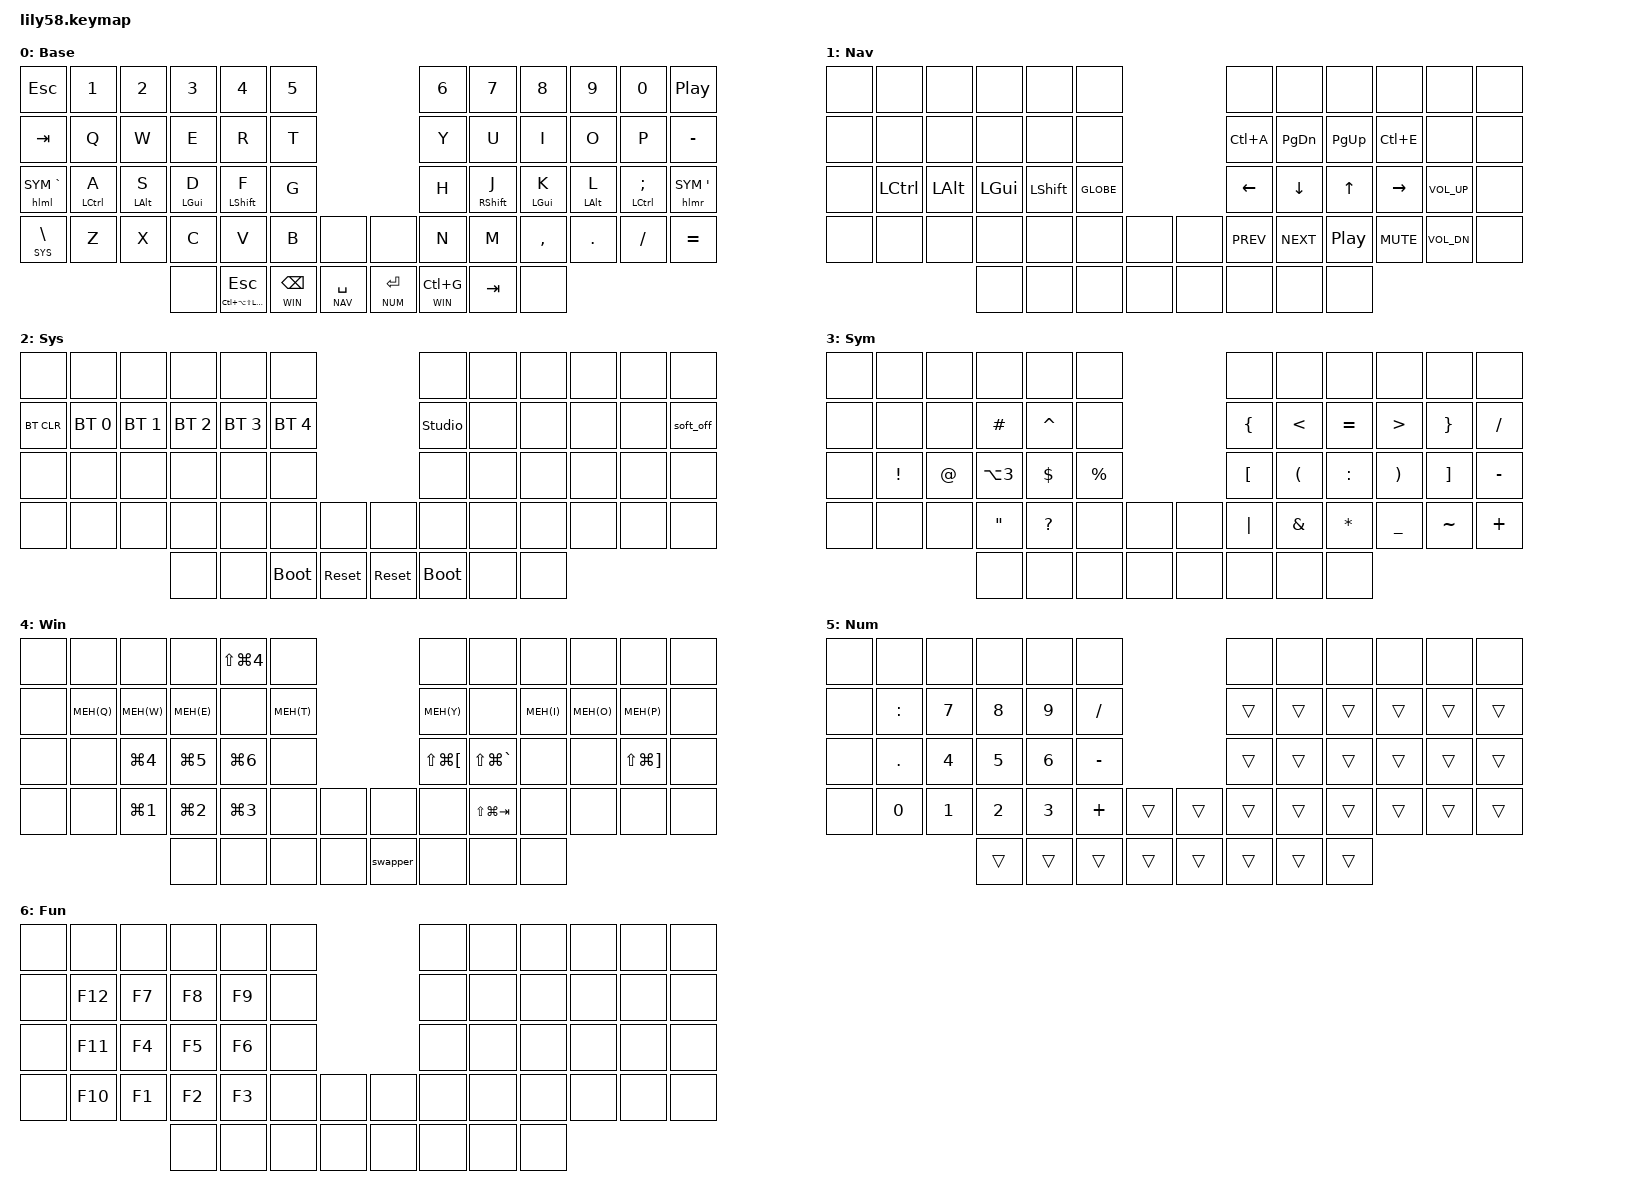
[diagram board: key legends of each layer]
/*
 * Copyright (c) 2020 The ZMK Contributors
 *
 * SPDX-License-Identifier: MIT
 */
#include <behaviors.dtsi>
#define LILY58_STANDARD_LABELS
#include "zmk-helpers/helper.h"
#include "zmk-helpers/key-labels/lily58.h"
#include <behaviors/num_word.dtsi> // Requires zmk-auto-layer module.
#include <dt-bindings/zmk/keys.h>
#include <dt-bindings/zmk/bt.h>
#include <dt-bindings/zmk/ext_power.h>

#define XXX &none
#define ___ &trans

// Key position definitions for devicetree hold-trigger-key-positions
#define LN0  5  // left-number row
#define LN1  4
#define LN2  3
#define LN3  2
#define LN4  1
#define LN5  0

#define RN0  6  // right-number row
#define RN1  7
#define RN2  8
#define RN3  9
#define RN4 10
#define RN5 11

#define LT0 17  // left-top row
#define LT1 16
#define LT2 15
#define LT3 14
#define LT4 13
#define LT5 12

#define RT0 18  // right-top row
#define RT1 19
#define RT2 20
#define RT3 21
#define RT4 22
#define RT5 23

#define LM0 29  // left-middle row
#define LM1 28
#define LM2 27
#define LM3 26
#define LM4 25
#define LM5 24

#define RM0 30  // right-middle row
#define RM1 31
#define RM2 32
#define RM3 33
#define RM4 34
#define RM5 35

#define LB0 41  // left-bottom row
#define LB1 40
#define LB2 39
#define LB3 38
#define LB4 37
#define LB5 36

#define LEC 42  // left encoder key
#define REC 43  // right encoder key

#define RB0 44  // right-bottom row
#define RB1 45
#define RB2 46
#define RB3 47
#define RB4 48
#define RB5 49

#define LH0 53  // left thumb keys
#define LH1 52
#define LH2 51
#define LH3 50

#define RH0 54  // right thumb keys
#define RH1 55
#define RH2 56
#define RH3 57

#define NUMROW LN0 LN1 LN2 LN3 LN4 LN5 RN0 RN1 RN2 RN3 RN4 RN5
#define KEYS_L LT0 LT1 LT2 LT3 LT4 LT5 LM0 LM1 LM2 LM3 LM4 LM5 LB0 LB1 LB2 LB3 LB4 LB5
#define KEYS_R RT0 RT1 RT2 RT3 RT4 RT5 RM0 RM1 RM2 RM3 RM4 RM5 RB0 RB1 RB2 RB3 RB4 RB5
#define THUMBS_L LH0 LH1 LH2 LH3
#define THUMBS_R RH0 RH1 RH2 RH3
#define THUMBS THUMBS_L THUMBS_R

#define DEF 0
#define NAV 1
#define SYS 2
#define SYM 3
#define WIN 4
#define NUM 5
#define FUN 6

/* Global defaults */

#define QUICK_TAP_MS 175

&lt {
  flavor = "balanced";
  tapping-term-ms = <200>;
  quick-tap-ms = <QUICK_TAP_MS>;
};
/* Homerow mods */
#define MAKE_HRM_IDLE(NAME, HOLD, TAP, TRIGGER_POS, IDLE_MS)                   \
  ZMK_HOLD_TAP(NAME, bindings = <HOLD>, <TAP>; flavor = "balanced";            \
               tapping-term-ms = <320>; quick-tap-ms = <QUICK_TAP_MS>;         \
               require-prior-idle-ms = <IDLE_MS>; hold-trigger-on-release;     \
               hold-trigger-key-positions = <TRIGGER_POS>;)
#define MAKE_HRM(NAME, HOLD, TAP, TRIGGER_POS)                                 \
  MAKE_HRM_IDLE(NAME, HOLD, TAP, TRIGGER_POS, 80)

MAKE_HRM(hml, &kp, &kp, KEYS_R THUMBS) // Left-hand HRMs.
MAKE_HRM(hmr, &kp, &kp, KEYS_L THUMBS) // Right-hand HRMs.

// Index-finger Shift: same as above but a shorter prior-idle window, so a
// chord pressed right after the previous key (end-of-sentence `?`, capital at
// the start of a word) still resolves as Shift instead of a plain tap.
MAKE_HRM_IDLE(hmls, &kp, &kp, KEYS_R THUMBS, 35)
MAKE_HRM_IDLE(hmrs, &kp, &kp, KEYS_L THUMBS, 35)

MAKE_HRM(hlml, &mo, &kp, KEYS_R) // Left-hand HRM layer tap
MAKE_HRM(hlmr, &mo, &kp, KEYS_L) // Right-hand HRM layer tap
MAKE_HRM(hma, &kp, &kp, KEYS_L KEYS_R THUMBS) //  Home row behaviour but not restricted to a keyboard half

// Tap-preferred: only becomes a hold if held past tapping-term, ignoring
// interrupting keys, so rolling off space into the next word never
// accidentally activates Nav.
ZMK_HOLD_TAP(lt_space, bindings = <&mo>, <&kp>; flavor = "tap-preferred";
             tapping-term-ms = <200>; quick-tap-ms = <QUICK_TAP_MS>;)
#define NAV_SPACE &lt_space NAV SPACE

#define LEFT_HYPER &mt LC(LA(LS(LGUI))) ESC

// Ctrl+Alt+Shift (no Cmd) — unlikely to collide with anything, used for
// custom Raycast window-management shortcuts on the Win layer.
#define MEH(key) LC(LA(LS(key)))


#define SHIFT_SPACE &hma LSHFT SPACE

// CMD+Tab swapper, requires tri-state module.
ZMK_TRI_STATE(swapper, bindings = <&kt LGUI>, <&kp TAB>, <&kt LGUI>;
              ignored-key-positions = <>;)

// System layer combos on bottom corners (one-shot). Base-layer only: RB4/RB5
// and LB4/LB5 carry other meanings on Nav/Sym/Win/Num.
ZMK_COMBO(sys_left, &sl SYS, LB4 LB5, DEF)
ZMK_COMBO(sys_right, &sl SYS, RB4 RB5, DEF)

// Function-key layer (one-shot) on the top-left corner: Tab + Q. Left side
// only: Tab+Q never occurs in normal typing, whereas the mirrored `-`+P pair
// would fire on `-p` shell flags.
ZMK_COMBO(fun_layer, &sl FUN, LT5 LT4, DEF)

// Copy/paste/cut combos on left bottom row. Base-layer only, same reasoning.
ZMK_COMBO(copy, &kp LG(C), LB3 LB2, DEF)
ZMK_COMBO(paste, &kp LG(V), LB2 LB1, DEF)
ZMK_COMBO(cut, &kp LG(X), LB4 LB3, DEF)

// These four combos are Base-layer only (DEF): J/K/L are arrows on Nav,
// F/D are digits on Num and Ctrl/Alt on Nav, and F/D/J/K/L are symbols on
// Sym — letting them fire on those layers would hijack normal use there
// (e.g. rolling "45" on Num misfiring as Tab, or Down+Up on Nav as Bspc).

// Backspace on right middle row: J + K
ZMK_COMBO(combo_bspc, &kp BSPC, RM1 RM2, DEF)

// Forward delete on right middle row: K + L
ZMK_COMBO(combo_del, &kp DEL, RM2 RM3, DEF)

// Tab on left middle row: D + F (LM1=F, LM2=D — LM index counts inward from
// the edge, opposite of letter order, so this is not LM3 LM4). Same-hand
// adjacent-finger pair like combo_bspc, so default timeout is fine.
ZMK_COMBO(combo_tab, &kp TAB, LM1 LM2, DEF)

// Undo on left middle row: S + A (LM3=S, LM4=A), continuing the outward
// chain from combo_tab (F+D), mirroring combo_bspc/combo_del on the right.
ZMK_COMBO(combo_undo, &kp LG(Z), LM4 LM3, DEF)

// Caps word on the two shift homerow mods: F + J (LM1=F, see note above).
// Cross-hand, so it gets a wider timeout than same-hand combos.
ZMK_COMBO(combo_caps_word, &caps_word, LM1 RM1, DEF, 40)

// Tmux pane commands: prefix (Ctrl+G) followed by the pane-command key.
// Win-layer only, so these live entirely under WIN_TMUX_LEADER and never
// compete with normal typing or the Base-layer cut/copy/paste combos.
ZMK_MACRO(tmux_split_side_by_side, wait-ms = <30>; tap-ms = <30>;
          bindings = <&kp LC(G) &kp PIPE>;)
ZMK_MACRO(tmux_split_stacked, wait-ms = <30>; tap-ms = <30>;
          bindings = <&kp LC(G) &kp MINUS>;)
ZMK_MACRO(tmux_kill_pane, wait-ms = <30>; tap-ms = <30>;
          bindings = <&kp LC(G) &kp X>;)

// Side-by-side split: A + S
ZMK_COMBO(combo_tmux_split_side_by_side, &tmux_split_side_by_side, LM4 LM3, WIN)

// Stacked split: W + S
ZMK_COMBO(combo_tmux_split_stacked, &tmux_split_stacked, LT3 LM3, WIN)

// Kill pane: Z + X
ZMK_COMBO(combo_tmux_kill_pane, &tmux_kill_pane, LB4 LB3, WIN)

// Tap: Enter | Hold: num-layer. A plain layer-tap (no tap-dance) so a lone
// Enter fires immediately instead of waiting out a double-tap window.
#define NUM_ENTER &lt NUM ENTER

// Num-word on D + K, the cross-hand counterpart of F + J (caps word).
// Same 40ms timeout as caps word since it's cross-hand. Base-layer only.
ZMK_COMBO(combo_num_word, &num_word NUM, LM2 RM2, DEF, 40)

&caps_word { // Mods deactivate caps-word, requires PR #1451. [TODO: rebase]
  /delete-property/ ignore-modifiers;
};

// Default continue-list plus SEMI (the keycode under `:`), so times like
// 12:30 don't end num-word.
&num_word {
  continue-list = <BACKSPACE DELETE DOT COMMA PLUS MINUS STAR FSLH EQUAL SEMI>;
};

// Hold: Win layer | Tap: Ctrl+G (tmux leader). Mirrors the left thumb
// cluster's &lt WIN BSPC.
#define WIN_TMUX_LEADER &lt WIN LC(G)

/* Layers */

ZMK_LAYER(Base,
  // ╭─────────────┬─────────────┬─────────────┬─────────────┬─────────────┬─────────────╮                               ╭─────────────┬─────────────┬─────────────┬─────────────┬─────────────┬─────────────╮
      &kp ESC       &kp N1        &kp N2        &kp N3        &kp N4        &kp N5                                        &kp N6        &kp N7        &kp N8        &kp N9        &kp N0        &kp C_PP
  // ├─────────────┼─────────────┼─────────────┼─────────────┼─────────────┼─────────────┤                               ├─────────────┼─────────────┼─────────────┼─────────────┼─────────────┼─────────────┤
      &kp TAB       &kp Q         &kp W         &kp E         &kp R         &kp T                                         &kp Y         &kp U         &kp I         &kp O         &kp P         &kp MINUS
  // ├─────────────┼─────────────┼─────────────┼─────────────┼─────────────┼─────────────┤                               ├─────────────┼─────────────┼─────────────┼─────────────┼─────────────┼─────────────┤
      &hlml SYM GRAVE &hml LCTRL A &hml LALT S  &hml LGUI D   &hmls LSHFT F &kp G                                         &kp H         &hmrs RSHFT J &hmr LGUI K   &hmr LALT L   &hmr LCTRL SEMI &hlmr SYM SQT
  // ├─────────────┼─────────────┼─────────────┼─────────────┼─────────────┼─────────────┼─────────────╮   ╭─────────────┼─────────────┼─────────────┼─────────────┼─────────────┼─────────────┼─────────────┤
      &lt SYS BSLH  &kp Z         &kp X         &kp C         &kp V         &kp B         XXX               XXX           &kp N         &kp M         &kp COMMA     &kp PERIOD    &kp FSLH      &kp EQUAL
  // ╰─────────────┴─────────────┴─────────────┼─────────────┼─────────────┼─────────────┼─────────────┤   ├─────────────┼─────────────┼─────────────┼─────────────┼─────────────┴─────────────┴─────────────╯
                                                XXX           LEFT_HYPER    &lt WIN BSPC  NAV_SPACE         NUM_ENTER     WIN_TMUX_LEADER &kp TAB         XXX
  //                                           ╰─────────────┴─────────────┴─────────────┴─────────────╯   ╰─────────────┴─────────────┴─────────────┴─────────────╯
)

ZMK_LAYER(Nav,
  // ╭─────────────┬─────────────┬─────────────┬─────────────┬─────────────┬─────────────╮                               ╭─────────────┬─────────────┬─────────────┬─────────────┬─────────────┬─────────────╮
      XXX           XXX           XXX           XXX           XXX           XXX                                           XXX           XXX           XXX           XXX           XXX           XXX
  // ├─────────────┼─────────────┼─────────────┼─────────────┼─────────────┼─────────────┤                               ├─────────────┼─────────────┼─────────────┼─────────────┼─────────────┼─────────────┤
      XXX           XXX           XXX           XXX           XXX           XXX                                           &kp LC(A)     &kp PG_DN     &kp PG_UP     &kp LC(E)     XXX           XXX
  // ├─────────────┼─────────────┼─────────────┼─────────────┼─────────────┼─────────────┤                               ├─────────────┼─────────────┼─────────────┼─────────────┼─────────────┼─────────────┤
      XXX           &kp LCTRL     &kp LALT      &kp LGUI      &kp LSHFT     &kp GLOBE                                         &kp LEFT      &kp DOWN      &kp UP        &kp RIGHT     &kp K_VOL_UP  XXX
  // ├─────────────┼─────────────┼─────────────┼─────────────┼─────────────┼─────────────┼─────────────╮   ╭─────────────┼─────────────┼─────────────┼─────────────┼─────────────┼─────────────┼─────────────┤
      XXX           XXX           XXX           XXX           XXX           XXX           XXX               XXX           &kp C_PREV    &kp C_NEXT    &kp C_PP      &kp K_MUTE    &kp K_VOL_DN  XXX
  // ╰─────────────┴─────────────┴─────────────┼─────────────┼─────────────┼─────────────┼─────────────┤   ├─────────────┼─────────────┼─────────────┼─────────────┼─────────────┴─────────────┴─────────────╯
                                                XXX           XXX           XXX           XXX               XXX           XXX           XXX           XXX
  //                                           ╰─────────────┴─────────────┴─────────────┴─────────────╯   ╰─────────────┴─y───────────┴─────────────┴─────────────╯
)

ZMK_LAYER(Sys,
  // ╭─────────────┬─────────────┬─────────────┬─────────────┬─────────────┬─────────────╮                               ╭─────────────┬─────────────┬─────────────┬─────────────┬─────────────┬─────────────╮
      XXX           XXX           XXX           XXX           XXX           XXX                                           XXX           XXX           XXX           XXX           XXX           XXX
  // ├─────────────┼─────────────┼─────────────┼─────────────┼─────────────┼─────────────┤                               ├─────────────┼─────────────┼─────────────┼─────────────┼─────────────┼─────────────┤
      &bt BT_CLR    &bt BT_SEL 0  &bt BT_SEL 1  &bt BT_SEL 2  &bt BT_SEL 3  &bt BT_SEL 4                                  &studio_unlock XXX           XXX           XXX           XXX           &soft_off
  // ├─────────────┼─────────────┼─────────────┼─────────────┼─────────────┼─────────────┤                               ├─────────────┼─────────────┼─────────────┼─────────────┼─────────────┼─────────────┤
      XXX           XXX           XXX           XXX           XXX           XXX                                           XXX           XXX           XXX           XXX           XXX           XXX
  // ├─────────────┼─────────────┼─────────────┼─────────────┼─────────────┼─────────────┼─────────────╮   ╭─────────────┼─────────────┼─────────────┼─────────────┼─────────────┼─────────────┼─────────────┤
      XXX           XXX           XXX           XXX           XXX           XXX           XXX               XXX           XXX           XXX           XXX           XXX           XXX           XXX
  // ╰─────────────┴─────────────┴─────────────┼─────────────┼─────────────┼─────────────┼─────────────┤   ├─────────────┼─────────────┼─────────────┼─────────────┼─────────────┴─────────────┴─────────────╯
                                                XXX           XXX           &bootloader   &sys_reset        &sys_reset    &bootloader   XXX           XXX
  //                                           ╰─────────────┴─────────────┴─────────────┴─────────────╯   ╰─────────────┴─────────────┴─────────────┴─────────────╯
)

ZMK_LAYER(Sym,
  // ╭─────────────┬─────────────┬─────────────┬─────────────┬─────────────┬─────────────╮                               ╭─────────────┬─────────────┬─────────────┬─────────────┬─────────────┬─────────────╮
      XXX           XXX           XXX           XXX           XXX           XXX                                           XXX           XXX           XXX           XXX           XXX           XXX
  // ├─────────────┼─────────────┼─────────────┼─────────────┼─────────────┼─────────────┤                               ├─────────────┼─────────────┼─────────────┼─────────────┼─────────────┼─────────────┤
      XXX           XXX           XXX           &kp POUND     &kp CARET     XXX                                           &kp LBRC      &kp LT        &kp EQUAL     &kp GT        &kp RBRC      &kp SLASH
  // ├─────────────┼─────────────┼─────────────┼─────────────┼─────────────┼─────────────┤                               ├─────────────┼─────────────┼─────────────┼─────────────┼─────────────┼─────────────┤
      XXX           &kp EXCL      &kp AT        &kp LA(N3)    &kp DOLLAR    &kp PERCENT                                   &kp LBKT      &kp LPAR      &kp COLON     &kp RPAR      &kp RBKT      &kp MINUS
  // ├─────────────┼─────────────┼─────────────┼─────────────┼─────────────┼─────────────┼─────────────╮   ╭─────────────┼─────────────┼─────────────┼─────────────┼─────────────┼─────────────┼─────────────┤
      XXX           XXX           XXX           &kp DQT       &kp QMARK     XXX           XXX              XXX           &kp PIPE      &kp AMPERSAND &kp ASTERISK  &kp UNDER     &kp TILDE     &kp PLUS
  // ╰─────────────┴─────────────┴─────────────┼─────────────┼─────────────┼─────────────┼─────────────┤   ├─────────────┼─────────────┼─────────────┼─────────────┼─────────────┴─────────────┴─────────────╯
                                                XXX           XXX           XXX           XXX               XXX           XXX           XXX           XXX
  //                                           ╰─────────────┴─────────────┴─────────────┴─────────────╯   ╰─────────────┴─────────────┴─────────────┴─────────────╯
)

ZMK_LAYER(Win,
  // ╭─────────────┬─────────────┬─────────────┬─────────────┬─────────────┬─────────────╮                               ╭─────────────┬─────────────┬─────────────┬─────────────┬─────────────┬─────────────╮
  // Cmd+Shift+4 lives on the literal "4" key — mnemonic matches the macOS shortcut.
      XXX           XXX           XXX           XXX           &kp LS(LG(N4)) XXX                                          XXX           XXX           XXX           XXX           XXX           XXX
  // ├─────────────┼─────────────┼─────────────┼─────────────┼─────────────┼─────────────┤                               ├─────────────┼─────────────┼─────────────┼─────────────┼─────────────┼─────────────┤
  // Window management (Raycast, Meh = Ctrl+Alt+Shift): 1st/3 1st/2 1st-2/3 · Max | Ctr70% · Last-2/3 Last/2 Last/3
      XXX           &kp MEH(Q)    &kp MEH(W)    &kp MEH(E)    XXX           &kp MEH(T)                                    &kp MEH(Y)    XXX           &kp MEH(I)    &kp MEH(O)    &kp MEH(P)    XXX
  // ├─────────────┼─────────────┼─────────────┼─────────────┼─────────────┼─────────────┤                               ├─────────────┼─────────────┼─────────────┼─────────────┼─────────────┼─────────────┤
      XXX           XXX           &kp LG(N4)    &kp LG(N5)    &kp LG(N6)    XXX                                           &kp LS(LG(LBKT)) &kp LS(LG(GRAVE)) XXX          XXX           &kp LS(LG(RBKT)) XXX
  // ├─────────────┼─────────────┼─────────────┼─────────────┼─────────────┼─────────────┼─────────────╮   ╭─────────────┼─────────────┼─────────────┼─────────────┼─────────────┼─────────────┼─────────────┤
      XXX           XXX           &kp LG(N1)    &kp LG(N2)    &kp LG(N3)    XXX           XXX               XXX           XXX           &kp LS(LG(TAB)) XXX         XXX           XXX           XXX
  // ╰─────────────┴─────────────┴─────────────┼─────────────┼─────────────┼─────────────┼─────────────┤   ├─────────────┼─────────────┼─────────────┼─────────────┼─────────────┴─────────────┴─────────────╯
                                                XXX           XXX           XXX           XXX               &swapper           XXX           XXX           XXX
  //                                           ╰─────────────┴─────────────┴─────────────┴─────────────╯   ╰─────────────┴─────────────┴─────────────┴─────────────╯
)

ZMK_LAYER(Num,
  // ╭─────────────┬─────────────┬─────────────┬─────────────┬─────────────┬─────────────╮                               ╭─────────────┬─────────────┬─────────────┬─────────────┬─────────────┬─────────────╮
      XXX           XXX           XXX           XXX           XXX           XXX                                           XXX           XXX           XXX           XXX           XXX           XXX
  // ├─────────────┼─────────────┼─────────────┼─────────────┼─────────────┼─────────────┤                               ├─────────────┼─────────────┼─────────────┼─────────────┼─────────────┼─────────────┤
      XXX           &kp COLON     &kp N7        &kp N8        &kp N9        &kp FSLH                                          ___           ___           ___           ___           ___           ___
  // ├─────────────┼─────────────┼─────────────┼─────────────┼─────────────┼─────────────┤                               ├─────────────┼─────────────┼─────────────┼─────────────┼─────────────┼─────────────┤
      XXX           &kp PERIOD    &kp N4        &kp N5        &kp N6        &kp MINUS                                          ___           ___           ___           ___           ___           ___
  // ├─────────────┼─────────────┼─────────────┼─────────────┼─────────────┼─────────────┼─────────────╮   ╭─────────────┼─────────────┼─────────────┼─────────────┼─────────────┼─────────────┼─────────────┤
      XXX           &kp N0        &kp N1        &kp N2        &kp N3        &kp PLUS          ___              ___           ___           ___           ___           ___           ___           ___
  // ╰─────────────┴─────────────┴─────────────┼─────────────┼─────────────┼─────────────┼─────────────┤   ├─────────────┼─────────────┼─────────────┼─────────────┼─────────────┴─────────────┴─────────────╯
                                                ___           ___           ___           ___               ___           ___           ___           ___
  //                                           ╰─────────────┴─────────────┴─────────────┴─────────────╯   ╰─────────────┴─────────────┴─────────────┴─────────────╯
)

// One-shot via the Tab+Q combo. Same numpad shape as Num (7-8-9 / 4-5-6 /
// 1-2-3), with F10-F12 on the pinky column.
ZMK_LAYER(Fun,
  // ╭─────────────┬─────────────┬─────────────┬─────────────┬─────────────┬─────────────╮                               ╭─────────────┬─────────────┬─────────────┬─────────────┬─────────────┬─────────────╮
      XXX           XXX           XXX           XXX           XXX           XXX                                           XXX           XXX           XXX           XXX           XXX           XXX
  // ├─────────────┼─────────────┼─────────────┼─────────────┼─────────────┼─────────────┤                               ├─────────────┼─────────────┼─────────────┼─────────────┼─────────────┼─────────────┤
      XXX           &kp F12       &kp F7        &kp F8        &kp F9        XXX                                           XXX           XXX           XXX           XXX           XXX           XXX
  // ├─────────────┼─────────────┼─────────────┼─────────────┼─────────────┼─────────────┤                               ├─────────────┼─────────────┼─────────────┼─────────────┼─────────────┼─────────────┤
      XXX           &kp F11       &kp F4        &kp F5        &kp F6        XXX                                           XXX           XXX           XXX           XXX           XXX           XXX
  // ├─────────────┼─────────────┼─────────────┼─────────────┼─────────────┼─────────────┼─────────────╮   ╭─────────────┼─────────────┼─────────────┼─────────────┼─────────────┼─────────────┼─────────────┤
      XXX           &kp F10       &kp F1        &kp F2        &kp F3        XXX           XXX               XXX           XXX           XXX           XXX           XXX           XXX           XXX
  // ╰─────────────┴─────────────┴─────────────┼─────────────┼─────────────┼─────────────┼─────────────┤   ├─────────────┼─────────────┼─────────────┼─────────────┼─────────────┴─────────────┴─────────────╯
                                                XXX           XXX           XXX           XXX               XXX           XXX           XXX           XXX
  //                                           ╰─────────────┴─────────────┴─────────────┴─────────────╯   ╰─────────────┴─────────────┴─────────────┴─────────────╯
)
